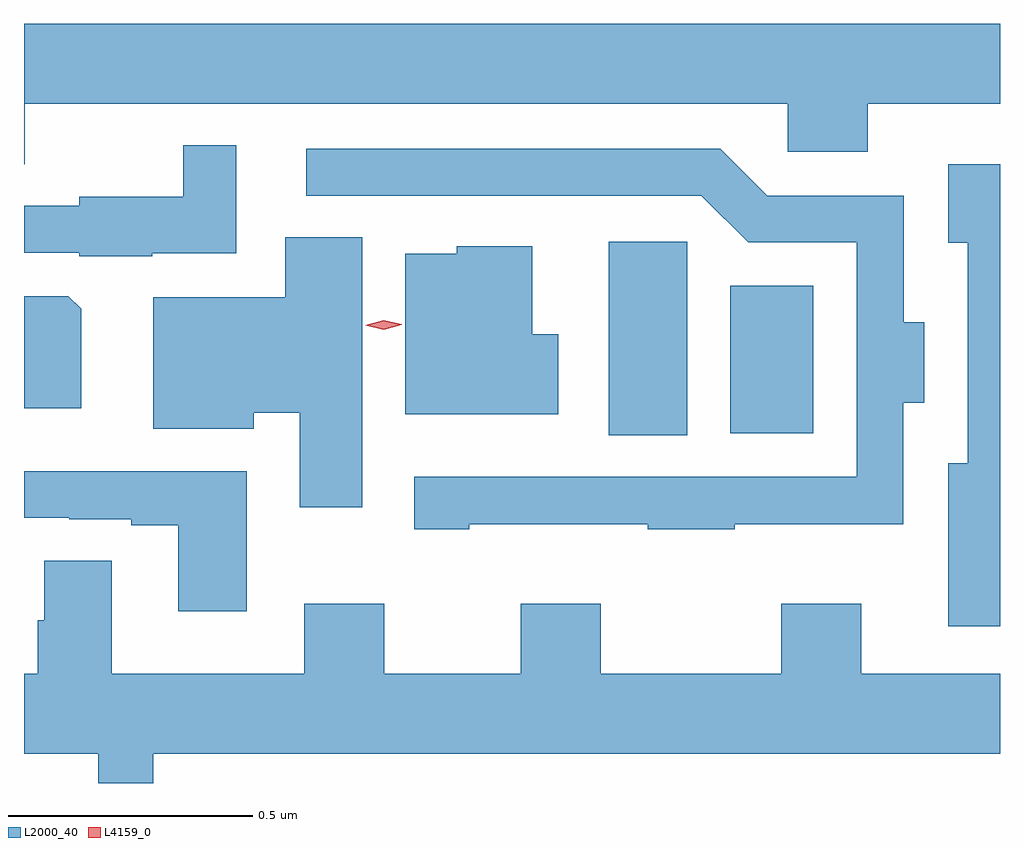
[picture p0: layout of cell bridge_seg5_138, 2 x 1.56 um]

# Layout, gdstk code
import gdstk
lib = gdstk.Library(unit=1e-6, precision=1e-09)
def R(c, l, rs):  # rectangles x0, y0, x1, y1
    for r in rs: c.add(gdstk.rectangle(r[:2], r[2:], *l))
def P(c, l, *ps):  # polygons
    for p in ps: c.add(gdstk.Polygon(p, *l))
L2000_40 = (2000, 40)
L4159_0 = (4159, 0)

bridge_seg5_138 = lib.new_cell('bridge_seg5_138')
R(bridge_seg5_138, L2000_40, [(258.119,888.049,258.28,888.445), (258.368,888.053,258.538,888.355)])
P(bridge_seg5_138, L2000_40, [(256.923,888.728),(258.486,888.728),(258.486,888.63),(258.65,888.63),(258.65,888.728),(258.921,888.728),(258.921,888.892),(256.921,888.892),(256.921,888.604),(256.923,888.604)],
  [(257.184,888.422),(257.356,888.422),(257.356,888.643),(257.247,888.643),(257.247,888.538),(257.034,888.538),(257.034,888.519),(256.921,888.519),(256.921,888.423),(257.034,888.423),(257.034,888.416),(257.184,888.416)],
  [(257.833,887.867),(258.199,887.867),(258.199,887.856),(258.377,887.856),(258.377,887.867),(258.723,887.867),(258.723,888.116),(258.766,888.116),(258.766,888.28),(258.724,888.28),(258.724,888.54),(258.444,888.54),(258.348,888.636),(257.499,888.636),(257.499,888.54),(258.309,888.54),(258.405,888.444),(258.627,888.444),(258.627,887.964),(257.721,887.964),(257.721,887.856),(257.833,887.856)],
  [(258.921,888.604),(258.815,888.604),(258.815,888.443),(258.855,888.443),(258.855,887.992),(258.815,887.992),(258.815,887.658),(258.921,887.658)],
  [(257.614,888.455),(257.456,888.455),(257.456,888.332),(257.186,888.332),(257.186,888.062),(257.392,888.062),(257.392,888.095),(257.486,888.095),(257.486,887.901),(257.614,887.901)],
  [(258.016,888.256),(257.962,888.256),(257.962,888.436),(257.808,888.436),(257.808,888.421),(257.702,888.421),(257.702,888.092),(258.016,888.092)],
  [(257.038,888.308),(257.012,888.334),(256.921,888.334),(256.921,888.104),(257.038,888.104)],
  [(257.377,887.975),(256.921,887.975),(256.921,887.88),(257.014,887.88),(257.014,887.877),(257.141,887.877),(257.141,887.865),(257.237,887.865),(257.237,887.688),(257.377,887.688)],
  [(257.186,887.396),(258.921,887.396),(258.921,887.56),(258.637,887.56),(258.637,887.704),(258.473,887.704),(258.473,887.56),(258.103,887.56),(258.103,887.704),(257.939,887.704),(257.939,887.56),(257.659,887.56),(257.659,887.704),(257.495,887.704),(257.495,887.56),(257.101,887.56),(257.101,887.792),(256.962,887.792),(256.962,887.67),(256.949,887.67),(256.949,887.56),(256.921,887.56),(256.921,887.396),(257.073,887.396),(257.073,887.336),(257.186,887.336)])
P(bridge_seg5_138, L4159_0, [(257.658,888.265),(257.62,888.274),(257.62,888.274),(257.62,888.274),(257.658,888.285),(257.695,888.276),(257.695,888.276),(257.695,888.275)])

lib.write_gds('bridge_seg5_138.gds')
